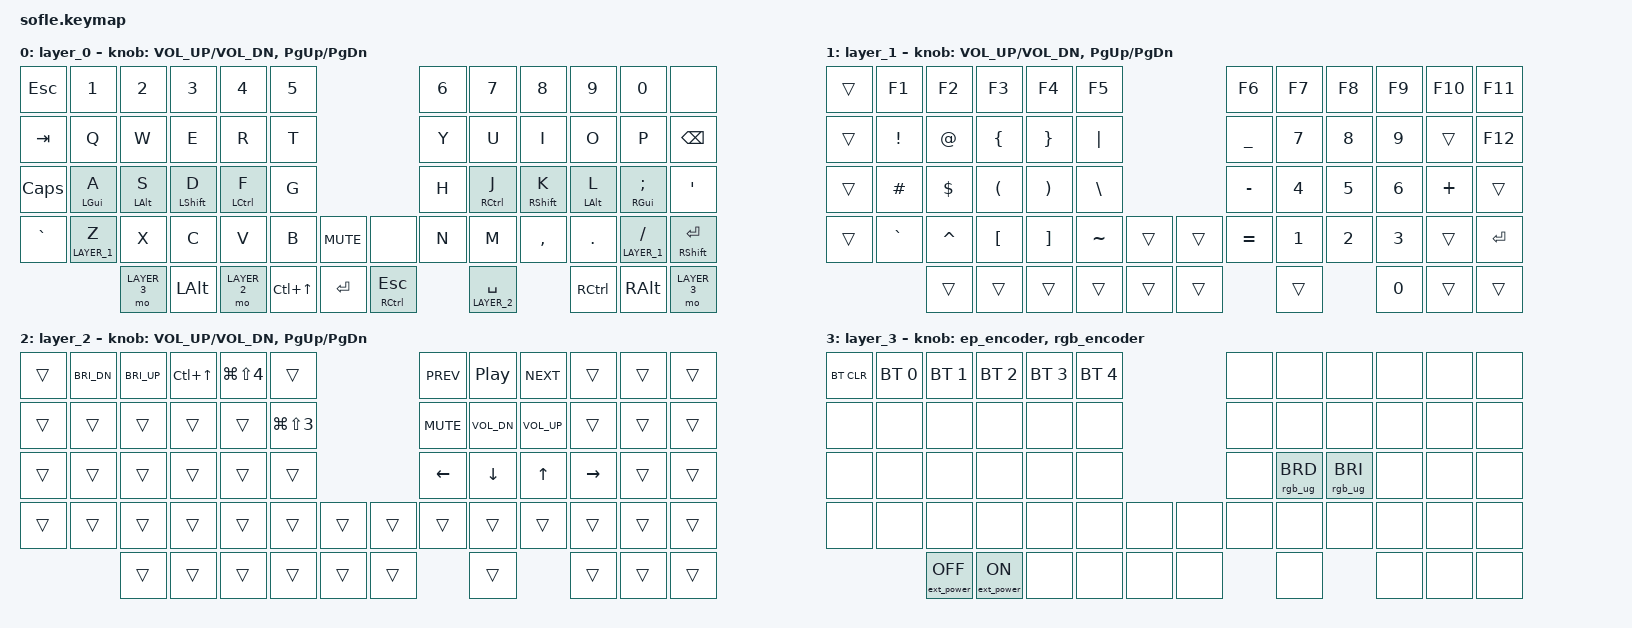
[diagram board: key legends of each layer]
/*
 * Copyright (c) 2020 The ZMK Contributors
 *
 * SPDX-License-Identifier: MIT
 */

#include <behaviors.dtsi>
#include <dt-bindings/zmk/keys.h>
#include <dt-bindings/zmk/bt.h>
#include <dt-bindings/zmk/rgb.h>
#include <dt-bindings/zmk/ext_power.h>

#define LAYER_0 0
#define LAYER_1 1
#define LAYER_2 2
#define LAYER_3 3

/ {
    // Define Home Row Mods Behavior
    behaviors {
        hm: homerow_mods {
            compatible = "zmk,behavior-hold-tap";
            label = "HOMEROW_MODS";
            #binding-cells = <2>;
            tapping-term-ms = <200>;
            quick-tap-ms = <0>;
            flavor = "balanced";
            bindings = <&kp>, <&kp>;
        };

        // Custom behavior for RGB Brightness Encoder
        rgb_encoder: rgb_encoder {
            compatible = "zmk,behavior-sensor-rotate";
            label = "RGB_ENCODER";
            #sensor-binding-cells = <0>;
            bindings = <&rgb_ug RGB_BRI>, <&rgb_ug RGB_BRD>;
        };

        // Custom behavior for External Power (OLED) Toggle Encoder
        // Counter-Clockwise = OFF, Clockwise = ON
        ep_encoder: ep_encoder {
            compatible = "zmk,behavior-sensor-rotate";
            label = "EP_ENCODER";
            #sensor-binding-cells = <0>;
            bindings = <&ext_power EP_OFF>, <&ext_power EP_ON>;
        };
    };

    keymap {
        compatible = "zmk,keymap";

        layer_0 {
            display-name = "layer_0";
// ---------------------------------------------------------------------------------------------------------------------------------
// |  ESC    |  1         |  2         |  3           |  4           |  5   |                 |  6   |  7            |  8            |  9           |  0            |       |
// |  TAB    |  Q         |  W         |  E           |  R           |  T   |                 |  Y   |  U            |  I            |  O           |  P            | BKSPC |
// |  CAPS   |  A         |  S         |  D           |  F           |  G   |                 |  H   |  J            |  K            |  L           |  ;            |   '   |
// |  GRAVE  |  Z         |  X         |  C           |  V           |  B   |  MUTE  | |      |  N   |  M            |  ,            |  .           |  /            |SFT/RET|
//               | GUI | ALT  | CTRL | LOWER|  ENTER |  | R_SPC | R_RAI| CTRL  | ALT   | ADJ  |
            bindings = <
&kp ESC        &kp N1         &kp N2         &kp N3          &kp N4         &kp N5                                     &kp N6     &kp N7          &kp N8          &kp N9         &kp N0            &none
&kp TAB        &kp Q          &kp W          &kp E           &kp R          &kp T                                      &kp Y      &kp U           &kp I           &kp O          &kp P             &kp BSPC
&kp CLCK       &hm LGUI A     &hm LALT S     &hm LSHFT D     &hm LCTRL F    &kp G                                      &kp H      &hm RCTRL J     &hm RSHFT K     &hm LALT L     &hm RGUI SEMI     &kp SQT
&kp GRAVE      &lt LAYER_1 Z  &kp X          &kp C           &kp V          &kp B           &kp C_MUTE    &none        &kp N      &kp M           &kp COMMA       &kp DOT        &lt LAYER_1 FSLH  &mt RSHFT RET
                              &mo LAYER_3    &kp LALT        &mo LAYER_2    &kp LC(UP)      &kp RET       &mt RCTRL ESC           &lt LAYER_2 SPACE               &kp RCTRL      &kp RALT          &mo LAYER_3
            >;

            sensor-bindings = <&inc_dec_kp C_VOL_UP C_VOL_DN &inc_dec_kp PG_UP PG_DN>;
        };

        layer_1 {
            display-name = "layer_1";
// ---------------------------------------------------------------------------------------------------------------------------------
// |         |  F1        |  F2        |  F3          |  F4          |  F5  |                 |  F6  |  F7           |  F8           |  F9          |  F10          |  F11  |
// |         |  !         |  @         |  {           |  }           |  |   |                 |  _   |  7            |  8            |  9           |               |  F12  |
// |         |  #         |  $         |  (           |  )           |  \   |                 |  -   |  4            |  5            |  6           |   +           |       |
// |         |  `         |  ^         |  [           |  ]           |  ~   |        | |      |  =   |  1            |  2            |  3           |               | ENTER |
//               |     |      |      |      |        |  |       |      |  0    |       |      |
            bindings = <
&trans         &kp F1         &kp F2         &kp F3          &kp F4         &kp F5                                     &kp F6     &kp F7          &kp F8          &kp F9         &kp F10           &kp F11
&trans         &kp EXCL       &kp AT         &kp LBRC        &kp RBRC       &kp PIPE                                   &kp UNDER  &kp N7          &kp N8          &kp N9         &trans            &kp F12
&trans         &kp HASH       &kp DLLR       &kp LPAR        &kp RPAR       &kp BSLH                                   &kp MINUS  &kp N4          &kp N5          &kp N6         &kp PLUS          &trans
&trans         &kp GRAVE      &kp CARET      &kp LBKT        &kp RBKT       &kp TILDE       &trans        &trans       &kp EQUAL  &kp N1          &kp N2          &kp N3         &trans            &kp RET
                              &trans         &trans          &trans         &trans          &trans        &trans                  &trans                          &kp N0         &trans            &trans
            >;

            sensor-bindings = <&inc_dec_kp C_VOL_UP C_VOL_DN &inc_dec_kp PG_UP PG_DN>;
        };

        layer_2 {
            display-name = "layer_2";
// ---------------------------------------------------------------------------------------------------------------------------------
// |         | BRDN       | BRUP       | MSN CTL      | SCREEN       |      |                 | PREV | PLAY/PAUSE    | NEXT          |              |               |       |
// |         |            |            |              |              | SCRN |                 | MUTE | VOL DN        | VOL UP        |              |               |       |
// |         |            |            |              |              |      |                 | LEFT | DOWN          | UP            | RIGHT        |               |       |
// |         |            |            |              |              |      |        | |      |      |               |               |              |               |       |
//               |     |      |      |      |        |  |       |      |       |       |      |
            bindings = <
&trans         &kp C_BRI_DN   &kp C_BRI_UP   &kp LC(UP)      &kp LG(LS(N4)) &trans                                     &kp C_PREV &kp C_PP        &kp C_NEXT      &trans         &trans            &trans
&trans         &trans         &trans         &trans          &trans         &kp LG(LS(N3))                             &kp C_MUTE &kp C_VOL_DN    &kp C_VOL_UP    &trans         &trans            &trans
&trans         &trans         &trans         &trans          &trans         &trans                                     &kp LEFT   &kp DOWN        &kp UP          &kp RIGHT      &trans            &trans
&trans         &trans         &trans         &trans          &trans         &trans          &trans        &trans       &trans     &trans          &trans          &trans         &trans            &trans
                              &trans         &trans          &trans         &trans          &trans        &trans                  &trans                          &trans         &trans            &trans
            >;

            sensor-bindings = <&inc_dec_kp C_VOL_UP C_VOL_DN &inc_dec_kp PG_UP PG_DN>;
        };

        layer_3 {
            display-name = "layer_3";
// ---------------------------------------------------------------------------------------------------------------------------------
// | BTCLR   |  BT1       |  BT2       |   BT3        |   BT4        |   BT5   |              |      |               |               |              |               |       |
// |         |            |            |              |              |         |              |      |               |               |              |               |       |
// |         |            |            |              |              |         |              |      | BRDN          | BRUP          |              |               |       |
// |         |            |            |              |              |         |       | |    |      |               |               |              |               |       |
//               | OLED OFF| OLED ON  |      |      |        |  |       |      |       |       |      |
            bindings = <
&bt BT_CLR     &bt BT_SEL 0   &bt BT_SEL 1   &bt BT_SEL 2    &bt BT_SEL 3   &bt BT_SEL 4                               &none      &none           &none           &none          &none             &none
&none          &none          &none          &none           &none          &none                                      &none      &none           &none           &none          &none             &none
&none          &none          &none          &none           &none          &none                                      &none      &rgb_ug RGB_BRD &rgb_ug RGB_BRI &none          &none             &none
&none          &none          &none          &none           &none          &none           &none         &none        &none      &none           &none           &none          &none             &none
                              &ext_power EP_OFF &ext_power EP_ON &none      &none           &none         &none                   &none                           &none          &none             &none
            >;

            // Left Encoder: Toggle External Power (Screens) | Right Encoder: RGB Brightness
            sensor-bindings = <&ep_encoder &rgb_encoder>;
        };

    };
};
